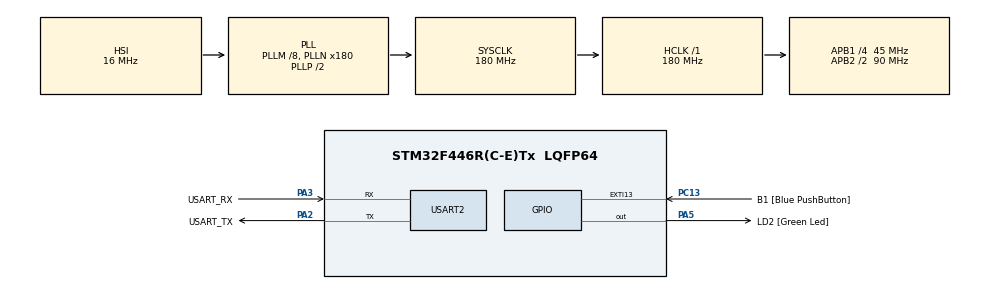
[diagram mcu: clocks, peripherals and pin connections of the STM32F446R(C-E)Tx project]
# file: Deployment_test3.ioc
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Mcu.Family=STM32F4
Mcu.Name=STM32F446R(C-E)Tx
Mcu.Package=LQFP64
NVIC.PriorityGroup=NVIC_PRIORITYGROUP_0
PA13.GPIO_Label=TMS
PA13.Mode=Serial_Wire
PA13.Signal=SYS_JTMS-SWDIO
PA14.GPIO_Label=TCK
PA14.Mode=Serial_Wire
PA14.Signal=SYS_JTCK-SWCLK
PA2.GPIO_Label=USART_TX
PA2.Mode=Asynchronous
PA2.Signal=USART2_TX
PA3.GPIO_Label=USART_RX
PA3.Mode=Asynchronous
PA3.Signal=USART2_RX
PA5.GPIO_Label=LD2 [Green Led]
PA5.Signal=GPIO_Output
PB3.GPIO_Label=SWO
PB3.Signal=SYS_JTDO-SWO
PC13.GPIO_Label=B1 [Blue PushButton]
PC13.GPIO_ModeDefaultEXTI=GPIO_MODE_IT_FALLING
PC13.Signal=GPXTI13
PC14-OSC32_IN.Mode=LSE-External-Oscillator
PC14-OSC32_IN.Signal=RCC_OSC32_IN
PC15-OSC32_OUT.Mode=LSE-External-Oscillator
PC15-OSC32_OUT.Signal=RCC_OSC32_OUT
PH0-OSC_IN.Mode=HSE-External-Oscillator
PH0-OSC_IN.Signal=RCC_OSC_IN
PH1-OSC_OUT.Mode=HSE-External-Oscillator
PH1-OSC_OUT.Signal=RCC_OSC_OUT
ProjectManager.HeapSize=0x800
ProjectManager.StackSize=0x800
ProjectManager.TargetToolchain=STM32CubeIDE
RCC.48MHZClocksFreq_Value=84000000
RCC.AHBFreq_Value=180000000
RCC.APB1CLKDivider=RCC_HCLK_DIV4
RCC.APB1Freq_Value=45000000
RCC.APB1TimFreq_Value=90000000
RCC.APB2CLKDivider=RCC_HCLK_DIV2
RCC.APB2Freq_Value=90000000
RCC.APB2TimFreq_Value=180000000
RCC.CortexFreq_Value=180000000
RCC.FLatency-AdvancedSettings=FLASH_LATENCY_5
RCC.HCLKFreq_Value=180000000
RCC.HSE_VALUE=8000000
RCC.HSI_VALUE=16000000
RCC.PLLM=8
RCC.PLLN=180
RCC.PLLP=2
RCC.SYSCLKFreq_VALUE=180000000
RCC.SYSCLKSource=RCC_SYSCLKSOURCE_PLLCLK
RCC.USBFreq_Value=180000000
RCC.VCOOutputFreq_Value=360000000
STMicroelectronics.X-CUBE-AI.8.0.0.ActivationBufferSizeList=1624
STMicroelectronics.X-CUBE-AI.8.0.0.ActivationBuffers=pool0
STMicroelectronics.X-CUBE-AI.8.0.0.ActivationNames=pool0
STMicroelectronics.X-CUBE-AI.8.0.0.ActivationSizes=AI_SINE_MODEL_DATA_ACTIVATION_1_SIZE
STMicroelectronics.X-CUBE-AI.8.0.0.HeapSize=0x800
STMicroelectronics.X-CUBE-AI.8.0.0.InternalRamActivationBufferMaxSize=AI_SINE_MODEL_DATA_ACTIVATIONS_SIZE
STMicroelectronics.X-CUBE-AI.8.0.0.LatestDirectoryUsed-1b33e7d1be4ffd3e570ae49620d13824964fa19a9c4933da9280485a4e03769b=F\:\\Graduation Project\\Model
STMicroelectronics.X-CUBE-AI.8.0.0.MaximumNumberOfInputLayer=1
STMicroelectronics.X-CUBE-AI.8.0.0.MaximumNumberOfOutputLayer=1
STMicroelectronics.X-CUBE-AI.8.0.0.MaximumSizeOfInputLayer=1
STMicroelectronics.X-CUBE-AI.8.0.0.MaximumSizeOfOutputLayer=1
STMicroelectronics.X-CUBE-AI.8.0.0.ModelActualCompression-1b33e7d1be4ffd3e570ae49620d13824964fa19a9c4933da9280485a4e03769b=2.29
STMicroelectronics.X-CUBE-AI.8.0.0.ModelCompression-1b33e7d1be4ffd3e570ae49620d13824964fa19a9c4933da9280485a4e03769b=Low
STMicroelectronics.X-CUBE-AI.8.0.0.ModelFlashOccupation-1b33e7d1be4ffd3e570ae49620d13824964fa19a9c4933da9280485a4e03769b=37348
STMicroelectronics.X-CUBE-AI.8.0.0.ModelHashList=1b33e7d1be4ffd3e570ae49620d13824964fa19a9c4933da9280485a4e03769b
STMicroelectronics.X-CUBE-AI.8.0.0.ModelKind-1b33e7d1be4ffd3e570ae49620d13824964fa19a9c4933da9280485a4e03769b=TFLITE
STMicroelectronics.X-CUBE-AI.8.0.0.ModelMacc-1b33e7d1be4ffd3e570ae49620d13824964fa19a9c4933da9280485a4e03769b=3611
STMicroelectronics.X-CUBE-AI.8.0.0.ModelName-1b33e7d1be4ffd3e570ae49620d13824964fa19a9c4933da9280485a4e03769b=sine_model
STMicroelectronics.X-CUBE-AI.8.0.0.ModelNameList=sine_model
STMicroelectronics.X-CUBE-AI.8.0.0.ModelRamOccupation-1b33e7d1be4ffd3e570ae49620d13824964fa19a9c4933da9280485a4e03769b=1624
STMicroelectronics.X-CUBE-AI.8.0.0.ModelStructureFile-1b33e7d1be4ffd3e570ae49620d13824964fa19a9c4933da9280485a4e03769b=F\:\\Graduation Project\\model.tflite
STMicroelectronics.X-CUBE-AI.8.0.0.ModelType-1b33e7d1be4ffd3e570ae49620d13824964fa19a9c4933da9280485a4e03769b=STM32Cube.AI runtime
STMicroelectronics.X-CUBE-AI.8.0.0.ReadyForCodeGeneration=true
STMicroelectronics.X-CUBE-AI.8.0.0.StackSize=0x800
STMicroelectronics.X-CUBE-AI.8.0.0.ValidationInputFile-1b33e7d1be4ffd3e570ae49620d13824964fa19a9c4933da9280485a4e03769b=F\:\\Graduation Project\\Model\\training_data.csv
STMicroelectronics.X-CUBE-AI.8.0.0.ValidationInputFileHistory-1b33e7d1be4ffd3e570ae49620d13824964fa19a9c4933da9280485a4e03769b=F\:\\Graduation Project\\Model\\training_data.csv
STMicroelectronics.X-CUBE-AI.8.0.0.ValidationOutputFile-1b33e7d1be4ffd3e570ae49620d13824964fa19a9c4933da9280485a4e03769b=F\:\\Graduation Project\\Model\\training_labels.csv
STMicroelectronics.X-CUBE-AI.8.0.0.ValidationOutputFileHistory-1b33e7d1be4ffd3e570ae49620d13824964fa19a9c4933da9280485a4e03769b=F\:\\Graduation Project\\Model\\training_labels.csv
STMicroelectronics.X-CUBE-AI.8.0.0.WorkingBufferStartAddrList=0xFFFFFFFF
STMicroelectronics.X-CUBE-AI.8.0.0.XAaCUBEAaAICcArtificialOoIntelligenceJjCore=true
STMicroelectronics.X-CUBE-AI.8.0.0.copyWeightToRam=false
STMicroelectronics.X-CUBE-AI.8.0.0.copyWeightToRam-1b33e7d1be4ffd3e570ae49620d13824964fa19a9c4933da9280485a4e03769b=false
STMicroelectronics.X-CUBE-AI.8.0.0.customLayerConfigEnabled=false
STMicroelectronics.X-CUBE-AI.8.0.0.customLayerConfigEnabled-1b33e7d1be4ffd3e570ae49620d13824964fa19a9c4933da9280485a4e03769b=false
STMicroelectronics.X-CUBE-AI.8.0.0.useInputAllocation=true
STMicroelectronics.X-CUBE-AI.8.0.0.useInputAllocation-1b33e7d1be4ffd3e570ae49620d13824964fa19a9c4933da9280485a4e03769b=true
STMicroelectronics.X-CUBE-AI.8.0.0.useOutputAllocation=true
STMicroelectronics.X-CUBE-AI.8.0.0.useOutputAllocation-1b33e7d1be4ffd3e570ae49620d13824964fa19a9c4933da9280485a4e03769b=true
TIM10.Prescaler=80-1
USART2.VirtualMode=VM_ASYNC
VP_CRC_VS_CRC.Mode=CRC_Activate
VP_STMicroelectronics.X-CUBE-AI_VS_ArtificialOoIntelligenceJjXAaCUBEAaAI_8.0.0.Mode=ArtificialOoIntelligenceJjXAaCUBEAaAI
VP_TIM10_VS_ClockSourceINT.Mode=Enable_Timer
board=NUCLEO-F446RE

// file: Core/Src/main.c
/* USER CODE BEGIN Header */
/**
 ******************************************************************************
 * @file           : main.c
 * @brief          : Main program body
 ******************************************************************************
 * @attention
 *
 * Copyright (c) 2023 STMicroelectronics.
 * All rights reserved.
 *
 * This software is licensed under terms that can be found in the LICENSE file
 * in the root directory of this software component.
 * If no LICENSE file comes with this software, it is provided AS-IS.
 *
 ******************************************************************************
 */
/* USER CODE END Header */
#include "main.h"
#include "crc.h"
#include "tim.h"
#include "usart.h"
#include "gpio.h"

#include "ai_datatypes_defines.h"
#include "ai_platform.h"
#include "sine_model.h"
#include "sine_model_data.h"

void SystemClock_Config(void);

int main(void)
{
  /* USER CODE BEGIN 1 */
	char buf[50];
	int buf_len = 0;
	ai_error ai_err;
	ai_i32 nbatch;
	uint32_t timestamp;
	float y_val;

	// Chunk of memory used to hold intermediate values for neural network
	AI_ALIGNED(4) ai_u8 activations[AI_SINE_MODEL_DATA_ACTIVATIONS_SIZE];

	// Buffers used to store input and output tensors
	AI_ALIGNED(4) ai_i8 in_data[AI_SINE_MODEL_IN_1_SIZE_BYTES];
	AI_ALIGNED(4) ai_i8 out_data[AI_SINE_MODEL_OUT_1_SIZE_BYTES];

	// Pointer to our model
	ai_handle sine_model = AI_HANDLE_NULL;

	// Initialize wrapper structs that hold pointers to data and info about the
	// data (tensor height, width, channels)
	ai_buffer ai_input[AI_SINE_MODEL_IN_NUM] = AI_SINE_MODEL_IN;
	ai_buffer ai_output[AI_SINE_MODEL_OUT_NUM] = AI_SINE_MODEL_OUT;

	// Set working memory and get weights/biases from model
	ai_network_params ai_params = {
			AI_SINE_MODEL_DATA_WEIGHTS(ai_sine_model_data_weights_get()),
			AI_SINE_MODEL_DATA_ACTIVATIONS(activations)
	};

	// Set pointers wrapper structs to our data buffers
	//	ai_input[0].shape = 1;
	ai_input[0].data = AI_HANDLE_PTR(in_data);
	//	ai_output[0].shape = 1;
	ai_output[0].data = AI_HANDLE_PTR(out_data);

  /* USER CODE END 1 */

  /* MCU Configuration--------------------------------------------------------*/

  /* Reset of all peripherals, Initializes the Flash interface and the Systick. */
  HAL_Init();

  /* Configure the system clock */
  SystemClock_Config();

  /* Initialize all configured peripherals */
  MX_GPIO_Init();
  MX_USART2_UART_Init();
  MX_CRC_Init();
  MX_TIM10_Init();

  /* Infinite loop */
  while (1)
  {

  }
}

void SystemClock_Config(void)
{
  RCC_OscInitTypeDef RCC_OscInitStruct = {0};
  RCC_ClkInitTypeDef RCC_ClkInitStruct = {0};

  /** Configure the main internal regulator output voltage
  */
  __HAL_RCC_PWR_CLK_ENABLE();
  __HAL_PWR_VOLTAGESCALING_CONFIG(PWR_REGULATOR_VOLTAGE_SCALE1);

  /** Initializes the RCC Oscillators according to the specified parameters
  * in the RCC_OscInitTypeDef structure.
  */
  RCC_OscInitStruct.OscillatorType = RCC_OSCILLATORTYPE_HSI;
  RCC_OscInitStruct.HSIState = RCC_HSI_ON;
  RCC_OscInitStruct.HSICalibrationValue = RCC_HSICALIBRATION_DEFAULT;
  RCC_OscInitStruct.PLL.PLLState = RCC_PLL_ON;
  RCC_OscInitStruct.PLL.PLLSource = RCC_PLLSOURCE_HSI;
  RCC_OscInitStruct.PLL.PLLM = 8;
  RCC_OscInitStruct.PLL.PLLN = 180;
  RCC_OscInitStruct.PLL.PLLP = 2;
  RCC_OscInitStruct.PLL.PLLQ = 2;
  RCC_OscInitStruct.PLL.PLLR = 2;
  if (HAL_RCC_OscConfig(&RCC_OscInitStruct) != HAL_OK)
  {
    Error_Handler();
  }

  /** Activate the Over-Drive mode
  */
  if (HAL_PWREx_EnableOverDrive() != HAL_OK)
  {
    Error_Handler();
  }

  /** Initializes the CPU, AHB and APB buses clocks
  */
  RCC_ClkInitStruct.ClockType = RCC_CLOCKTYPE_HCLK|RCC_CLOCKTYPE_SYSCLK
                              |RCC_CLOCKTYPE_PCLK1|RCC_CLOCKTYPE_PCLK2;
  RCC_ClkInitStruct.SYSCLKSource = RCC_SYSCLKSOURCE_PLLCLK;
  RCC_ClkInitStruct.AHBCLKDivider = RCC_SYSCLK_DIV1;
  RCC_ClkInitStruct.APB1CLKDivider = RCC_HCLK_DIV4;
  RCC_ClkInitStruct.APB2CLKDivider = RCC_HCLK_DIV2;

  if (HAL_RCC_ClockConfig(&RCC_ClkInitStruct, FLASH_LATENCY_5) != HAL_OK)
  {
    Error_Handler();
  }
}

void Error_Handler(void)
{
	__disable_irq();
	while (1)
	{
	}
}
